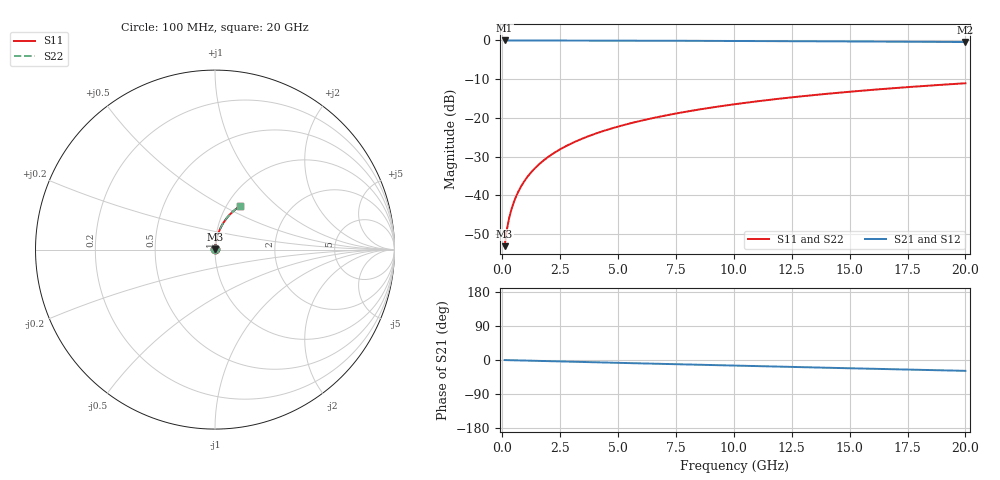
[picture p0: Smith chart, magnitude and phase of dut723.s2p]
! Touchstone file exported from HFSS 2026.1.0
!  File:  C:/ffzhzh/LocalFiles/Ansys_Project_Files/temp_train_TMRDL_723_1783154794_55132.aedt
!  Generated:  04:47:53 PM Jul  4, 2026
!  Design:  TMRDL
!  Project:  temp_train_TMRDL_723_1783154794_55132
! Variables:
!  h_bsmrdl = 2um
!  h_ox = 20um
!  h_rdl = 5um
!  h_sub = 80um
!  h_tmrdl = 4.9um
!  h_tsv = 80um
!  h_via = 3um
!  l_bsmrdl = 300um
!  l_sub = 788.68um
!  l_tmrdl = 388.68um
!  m_sub = 200um
!  pitch = 52.44um
!  r_tsv = 6um
!  s_tmrdl = 10um
!  w_bsmrdl = 18um
!  w_sub = 500um
!  w_tmrdl = 22.64um
!  x_tsv_center1 = 400um
!  x_tsv_center2 = 718um
!  x_tsv_center3 = 1129.32um
!  x_tsv_center4 = 1447.32um
!  x_tsv_center5 = 1858.64um
!  x_tsv_center6 = 2176.64um
# GHz S MA R 50.000000
! Terminal data exported
! Port[1] = TM_RDL1_1_T1
! Port[2] = TM_RDL1_1_T2
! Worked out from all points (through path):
!   200 points, 100 MHz to 20 GHz, reference 50 ohm
!   highest |S21| = -0.01 dB at 100 MHz (marker M1); lowest = -0.4 dB at 20 GHz (marker M2)
!   group delay of S21, straight-line fit = 3.97 ps
!   lowest |S11| = -53.1 dB at 100 MHz (marker M3), VSWR 1.00, Z = 50.1 + j0.17 ohm
!   |S11| at or under -10 dB: start of sweep to end of sweep
!   |S22| runs from -53.1 to -11.1 dB; largest |S21 - S12| = 3e-15
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0.1  0.002203 50.2  0.9986 -0.2  0.9986 -0.2  0.002203 50.2
! Gamma 0 0 0 0
! Port Impedance 50 0 50 0
0.2  0.003641 65.5  0.9985 -0.3  0.9985 -0.3  0.003641 65.5
0.3  0.005143 71.8  0.9984 -0.5  0.9984 -0.5  0.005143 71.8
0.4  0.006664 75.4  0.9984 -0.6  0.9984 -0.6  0.006664 75.4
0.5  0.008197 77.6  0.9983 -0.8  0.9983 -0.8  0.008197 77.6
0.7  0.01129 80.3  0.9982 -1.1  0.9982 -1.1  0.01129 80.3
0.8  0.01285 81.1  0.9982 -1.2  0.9982 -1.2  0.01285 81.1
1  0.01597 82.1  0.9981 -1.5  0.9981 -1.5  0.01597 82.1
1.2  0.01909 82.6  0.998 -1.8  0.998 -1.8  0.01909 82.6
1.4  0.02221 83.0  0.9979 -2.1  0.9979 -2.1  0.02221 83.0
1.7  0.02689 83.1  0.9976 -2.6  0.9976 -2.6  0.02689 83.1
2  0.03155 83.1  0.9974 -3.0  0.9974 -3.0  0.03155 83.1
2.7  0.04236 82.6  0.9967 -4.1  0.9967 -4.1  0.04236 82.6
3.5  0.05458 81.8  0.9957 -5.3  0.9957 -5.3  0.05458 81.8
4.2  0.06516 80.9  0.9947 -6.3  0.9947 -6.3  0.06516 80.9
5  0.07713 79.9  0.9935 -7.5  0.9935 -7.5  0.07713 79.9
6.8  0.1036 77.5  0.9904 -10.1  0.9904 -10.1  0.1036 77.5
8.3  0.1253 75.5  0.9874 -12.3  0.9874 -12.3  0.1253 75.5
10.1  0.1509 73.1  0.9833 -14.9  0.9833 -14.9  0.1509 73.1
13.4  0.1961 68.7  0.9746 -19.6  0.9746 -19.6  0.1961 68.7
16.7  0.2392 64.3  0.9644 -24.1  0.9644 -24.1  0.2392 64.3
20  0.2796 59.9  0.9531 -28.6  0.9531 -28.6  0.2796 59.9
